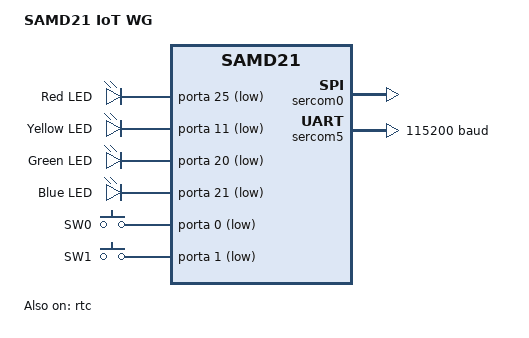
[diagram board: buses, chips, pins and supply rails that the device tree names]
/dts-v1/;
#include <freq.h>
#include <atmel/samd21.dtsi>
#include <atmel/samx2xx18.dtsi>
#include "samd21_iot_wg-pinctrl.dtsi"
#include <zephyr/dt-bindings/input/input-event-codes.h>

/ {
    model = "SAMD21 IoT WG";
    compatible = "microchip,samd21-iot-wg", "atmel,samd21g18a", "atmel,samd21", "atmel,sam0";

    chosen {
        zephyr,console = &sercom5;
        zephyr,shell-uart = &sercom5;
        zephyr,sram = &sram0;
        zephyr,flash = &flash0;
    };

	/* These aliases are provided for compatibility with samples */
	aliases {
		led0 = &led0;
        led1 = &led1;
        led2 = &led2;
        led3 = &led3;
		sw0 = &user_button0;
        sw1 = &user_button1;
	};   

    leds {
        compatible = "gpio-leds";

        led0: led_0 {
            gpios = <&porta 25 GPIO_ACTIVE_LOW>;
            label = "Red LED";
        };

        led1: led_1 {
            gpios = <&porta 11 GPIO_ACTIVE_LOW>;
            label = "Yellow LED";
        };

        led2: led_2 {
            gpios = <&porta 20 GPIO_ACTIVE_LOW>;
            label = "Green LED";
        };

        led3: led_3 {
            gpios = <&porta 21 GPIO_ACTIVE_LOW>;
            label = "Blue LED";
        };
    };

    buttons {
        compatible = "gpio-keys";

        user_button0: button_0 {
            gpios = <&porta 0 (GPIO_PULL_UP | GPIO_ACTIVE_LOW)>;
            label = "SW0";
            zephyr,code = <INPUT_KEY_0>;
        };

        user_button1: button_1 {
            gpios = <&porta 1 (GPIO_PULL_UP | GPIO_ACTIVE_LOW)>;
            label = "SW1";
            zephyr,code = <INPUT_KEY_1>;
        };
    };
};

&cpu0 {
	clock-frequency = <DT_FREQ_M(48)>;
};

&rtc {
	status = "okay";
	counter-mode = "clock";
	prescaler = <1024>;
};

&sercom0 {
    status = "okay";
    compatible = "atmel,sam0-spi";
    dipo = <3>;
    dopo = <0>;
    #address-cells = <1>;
    #size-cells = <0>;

    pinctrl-0 = <&sercom0_spi_default>;
    pinctrl-names = "default";
};

/*
&sercom3 {
	status = "okay";
	compatible = "atmel,sam0-i2c";
	clock-frequency = <I2C_BITRATE_FAST>;
	#address-cells = <1>;
	#size-cells = <0>;

	pinctrl-0 = <&sercom3_i2c_default>;
	pinctrl-names = "default";
}; */

&sercom5 {
	status = "okay";
	compatible = "atmel,sam0-uart";
    current-speed = <115200>;
    clock-frequency = <48000000>;
	rxpo = <1>;
	txpo = <0>;

	pinctrl-0 = <&sercom5_uart_default>;
	pinctrl-names = "default";
}; 

